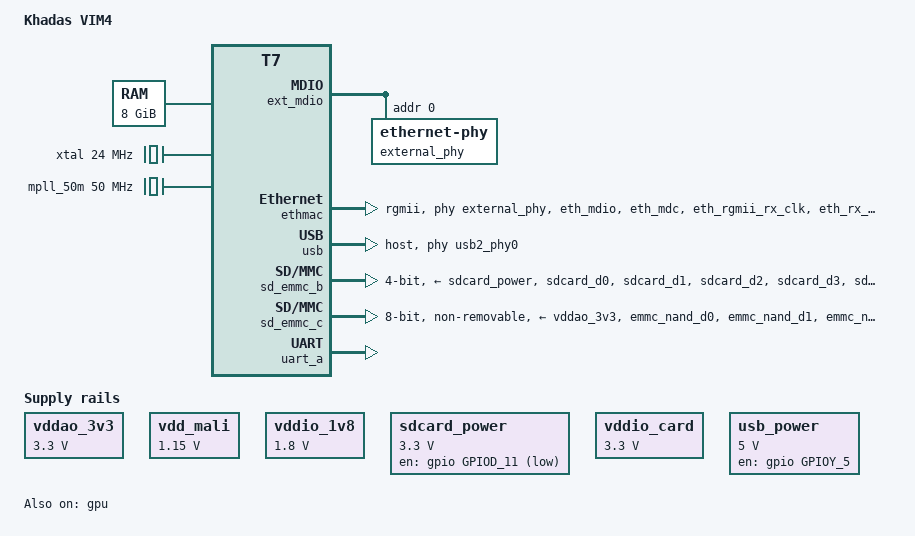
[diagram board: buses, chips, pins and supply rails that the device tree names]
// SPDX-License-Identifier: (GPL-2.0+ OR MIT)
/*
 * Copyright (c) 2022 Wesion, Inc. All rights reserved.
 */

/dts-v1/;

#include <dt-bindings/clock/amlogic,t7-peripherals-clkc.h>
#include <dt-bindings/gpio/amlogic,t7-periphs-pinctrl.h>
#include <dt-bindings/gpio/gpio.h>
#include "amlogic-t7.dtsi"

/ {
	model = "Khadas VIM4";
	compatible = "khadas,vim4", "amlogic,a311d2", "amlogic,t7";

	aliases {
		ethernet0 = &ethmac;
		serial0 = &uart_a;
		mmc0 = &sd_emmc_c;
		mmc1 = &sd_emmc_b;
	};

	chosen {
		stdout-path = "serial0:921600n8";
	};

	memory@0 {
		device_type = "memory";
		reg = <0x0 0x0 0x0 0xE0000000
			0x1 0x0 0x0 0xE0000000
			0x2 0x0 0x0 0x40000000>; /* 8 GB */
		linux,usable-memory = <0x0 0x0 0x0 0xE0000000
				       0x1 0x0 0x0 0xE0000000
				       0x2 0x0 0x0 0x40000000>;
	};

	reserved-memory {
		#address-cells = <2>;
		#size-cells = <2>;
		ranges;

		ramoops@8400000 {
			compatible = "ramoops";
			reg = <0x0 0x08400000 0x0 0x00100000>;
			record-size = <0x20000>;
			console-size = <0x40000>;
			ftrace-size = <0x80000>;
			pmsg-size = <0x20000>;
		};

		logo_reserved: linux,meson-fb {
			compatible = "amlogic, meson-fb";
			reusable;
			size = <0x0 0x00800000>;
			alignment = <0x0 0x00400000>;
			reg = <0x0 0x3f800000 0x0 0x00800000>;
		};

		/* Vendor U-Boot hardcodes this node path during rsvmem check. */
		secmon_reserved: linux,secmon {
			compatible = "shared-dma-pool";
			no-map;
			size = <0x0 0x03400000>;
			alignment = <0x0 0x00400000>;
			alloc-ranges = <0x0 0x05000000 0x0 0x03400000>;
		};
	};

	partitions: partitions {
		parts = <1>;
		part-0 = <&rootfs>;

		rootfs: rootfs {
			pname = "rootfs";
			size = <0xffffffff 0xffffffff>;
			mask = <4>;
		};
	};

	secmon {
		compatible = "amlogic, secmon";
		memory-region = <&secmon_reserved>;
		in_base_func = <0x82000020>;
		out_base_func = <0x82000021>;
		inout_size_func = <0x8200002a>;
		reserve_mem_size = <0x03300000>;
	};

	xtal: xtal-clk {
		compatible = "fixed-clock";
		clock-frequency = <24000000>;
		clock-output-names = "xtal";
		#clock-cells = <0>;
	};

	/* Temporary parent clocks until the full T7 SCMI/PLL map is safe to enable. */
	sys_clk: sys-clk {
		compatible = "fixed-clock";
		clock-frequency = <166666666>;
		clock-output-names = "sys";
		#clock-cells = <0>;
	};

	fixed_pll: fixed-pll-clk {
		compatible = "fixed-clock";
		clock-frequency = <2000000000>;
		clock-output-names = "fix";
		#clock-cells = <0>;
	};

	fdiv2: fdiv2-clk {
		compatible = "fixed-clock";
		clock-frequency = <1000000000>;
		clock-output-names = "fdiv2";
		#clock-cells = <0>;
	};

	fdiv2p5: fdiv2p5-clk {
		compatible = "fixed-clock";
		clock-frequency = <800000000>;
		clock-output-names = "fdiv2p5";
		#clock-cells = <0>;
	};

	fdiv3: fdiv3-clk {
		compatible = "fixed-clock";
		clock-frequency = <666666666>;
		clock-output-names = "fdiv3";
		#clock-cells = <0>;
	};

	fdiv4: fdiv4-clk {
		compatible = "fixed-clock";
		clock-frequency = <500000000>;
		clock-output-names = "fdiv4";
		#clock-cells = <0>;
	};

	fdiv5: fdiv5-clk {
		compatible = "fixed-clock";
		clock-frequency = <400000000>;
		clock-output-names = "fdiv5";
		#clock-cells = <0>;
	};

	fdiv7: fdiv7-clk {
		compatible = "fixed-clock";
		clock-frequency = <285714285>;
		clock-output-names = "fdiv7";
		#clock-cells = <0>;
	};

	hifi: hifi-clk {
		compatible = "fixed-clock";
		clock-frequency = <500000000>;
		clock-output-names = "hifi";
		#clock-cells = <0>;
	};

	gp0: gp0-clk {
		compatible = "fixed-clock";
		clock-frequency = <1000000000>;
		clock-output-names = "gp0";
		#clock-cells = <0>;
	};

	gp1: gp1-clk {
		compatible = "fixed-clock";
		clock-frequency = <1000000000>;
		clock-output-names = "gp1";
		#clock-cells = <0>;
	};

	mpll1: mpll1-clk {
		compatible = "fixed-clock";
		clock-frequency = <500000000>;
		clock-output-names = "mpll1";
		#clock-cells = <0>;
	};

	mpll2: mpll2-clk {
		compatible = "fixed-clock";
		clock-frequency = <500000000>;
		clock-output-names = "mpll2";
		#clock-cells = <0>;
	};

	mpll_50m: mpll-50m-clk {
		compatible = "fixed-clock";
		clock-frequency = <50000000>;
		clock-output-names = "mpll_50m";
		#clock-cells = <0>;
	};

	vddao_3v3: regulator-vddao-3v3 {
		compatible = "regulator-fixed";
		regulator-name = "VDDAO_3V3";
		regulator-min-microvolt = <3300000>;
		regulator-max-microvolt = <3300000>;
		regulator-always-on;
	};

	vdd_mali: regulator-vdd-mali {
		compatible = "regulator-fixed";
		regulator-name = "VDD_MALI";
		regulator-min-microvolt = <1150000>;
		regulator-max-microvolt = <1150000>;
		regulator-always-on;
	};

	vddio_1v8: regulator-vddio-1v8 {
		compatible = "regulator-fixed";
		regulator-name = "VDDIO_1V8";
		regulator-min-microvolt = <1800000>;
		regulator-max-microvolt = <1800000>;
		regulator-always-on;
	};

	sdcard_power: regulator-sdcard-power {
		compatible = "regulator-fixed";
		regulator-name = "SDCARD_POWER";
		regulator-min-microvolt = <3300000>;
		regulator-max-microvolt = <3300000>;
		gpio = <&gpio GPIOD_11 GPIO_ACTIVE_LOW>;
		regulator-boot-on;
	};

	vddio_card: regulator-vddio-card {
		compatible = "regulator-gpio";
		regulator-name = "VDDIO_CARD";
		regulator-min-microvolt = <3300000>;
		regulator-max-microvolt = <3300000>;
		gpios = <&gpio GPIOD_9 GPIO_ACTIVE_HIGH>;
		gpios-states = <0>;
		states = <1800000 1>,
			 <3300000 0>;
		regulator-boot-on;
	};

	usb_power: regulator-usb-power {
		compatible = "regulator-fixed";
		regulator-name = "USB_POWER";
		regulator-min-microvolt = <5000000>;
		regulator-max-microvolt = <5000000>;
		gpio = <&gpio GPIOY_5 GPIO_ACTIVE_HIGH>;
		enable-active-high;
		regulator-boot-on;
	};

};

&{/} {
	thermal-zones {
		a73_thermal: a73-thermal {
			polling-delay = <1000>;
			polling-delay-passive = <100>;
			thermal-sensors = <&a73_temp>;

			trips {
				a73_passive: a73-passive {
					temperature = <85000>;
					hysteresis = <2000>;
					type = "passive";
				};

				a73_hot: a73-hot {
					temperature = <95000>;
					hysteresis = <2000>;
					type = "hot";
				};

				a73_critical: a73-critical {
					temperature = <110000>;
					hysteresis = <2000>;
					type = "critical";
				};
			};
		};

		a53_thermal: a53-thermal {
			polling-delay = <1000>;
			polling-delay-passive = <100>;
			thermal-sensors = <&a53_temp>;

			trips {
				a53_passive: a53-passive {
					temperature = <85000>;
					hysteresis = <2000>;
					type = "passive";
				};

				a53_hot: a53-hot {
					temperature = <95000>;
					hysteresis = <2000>;
					type = "hot";
				};

				a53_critical: a53-critical {
					temperature = <110000>;
					hysteresis = <2000>;
					type = "critical";
				};
			};
		};
	};

	gpu: gpu@fe400000 {
		compatible = "amlogic,meson-t7-mali", "arm,mali-bifrost";
		reg = <0x0 0xfe400000 0x0 0x4000>;
		interrupt-parent = <&gic>;
		interrupts = <GIC_SPI 146 IRQ_TYPE_LEVEL_HIGH>,
			     <GIC_SPI 145 IRQ_TYPE_LEVEL_HIGH>,
			     <GIC_SPI 144 IRQ_TYPE_LEVEL_HIGH>;
		interrupt-names = "job", "mmu", "gpu";
		clocks = <&clkc_periphs CLKID_MALI>;
		mali-supply = <&vdd_mali>;
		operating-points-v2 = <&gpu_opp_table>;
		power-domains = <&pwrc PWRC_T7_MALI_TOP_ID>;
		resets = <&reset RESET_MALI_CAPB3>, <&reset RESET_MALI>;
		#cooling-cells = <2>;

		assigned-clocks = <&clkc_periphs CLKID_MALI_0_SEL>,
				  <&clkc_periphs CLKID_MALI_0>,
				  <&clkc_periphs CLKID_MALI>;
		assigned-clock-parents = <&fdiv2p5>,
					 <0>,
					 <&clkc_periphs CLKID_MALI_0>;
		assigned-clock-rates = <0>, <800000000>, <0>;
		status = "okay";
	};
};

&apb4 {
	clkc_periphs: clock-controller@0 {
		compatible = "amlogic,t7-peripherals-clkc";
		reg = <0x0 0x0 0x0 0x1c8>;
		#clock-cells = <1>;
		clocks = <&xtal>,
			 <&sys_clk>,
			 <&fixed_pll>,
			 <&fdiv2>,
			 <&fdiv2p5>,
			 <&fdiv3>,
			 <&fdiv4>,
			 <&fdiv5>,
			 <&fdiv7>,
			 <&hifi>,
			 <&gp0>,
			 <&gp1>,
			 <&mpll1>,
			 <&mpll2>;
		clock-names = "xtal",
			      "sys",
			      "fix",
			      "fdiv2",
			      "fdiv2p5",
			      "fdiv3",
			      "fdiv4",
			      "fdiv5",
			      "fdiv7",
			      "hifi",
			      "gp0",
			      "gp1",
			      "mpll1",
			      "mpll2";
	};

	eth_phy: mdio-multiplexer@28000 {
		compatible = "amlogic,g12a-mdio-mux";
		reg = <0x0 0x28000 0x0 0xa4>;
		clocks = <&clkc_periphs CLKID_SYS_ETHPHY>,
			 <&xtal>,
			 <&mpll_50m>;
		clock-names = "pclk", "clkin0", "clkin1";
		mdio-parent-bus = <&mdio0>;
		#address-cells = <1>;
		#size-cells = <0>;

		ext_mdio: mdio@0 {
			reg = <0>;
			#address-cells = <1>;
			#size-cells = <0>;

			external_phy: ethernet-phy@0 {
				reg = <0>;
				max-speed = <1000>;
				reset-assert-us = <20000>;
				reset-deassert-us = <50000>;
			};
		};
	};
};

&periphs_pinctrl {
	eth_pins: eth-pins {
		mux {
			groups = "eth_mdio",
				 "eth_mdc",
				 "eth_rgmii_rx_clk",
				 "eth_rx_dv",
				 "eth_rxd0",
				 "eth_rxd1",
				 "eth_txen",
				 "eth_txd0",
				 "eth_txd1";
			function = "eth";
			bias-disable;
			drive-strength-microamp = <4000>;
		};
	};

	eth_rgmii_pins: eth-rgmii-pins {
		mux {
			groups = "eth_rxd2_rgmii",
				 "eth_rxd3_rgmii",
				 "eth_rgmii_tx_clk",
				 "eth_txd2_rgmii",
				 "eth_txd3_rgmii";
			function = "eth";
			bias-disable;
			drive-strength-microamp = <4000>;
		};
	};

	sdcard_pins: sdcard-pins {
		mux {
			groups = "sdcard_d0",
				 "sdcard_d1",
				 "sdcard_d2",
				 "sdcard_d3",
				 "sdcard_cmd";
			function = "sdcard";
			bias-pull-up;
			drive-strength-microamp = <4000>;
		};

		mux-clk {
			groups = "sdcard_clk";
			function = "sdcard";
			bias-pull-up;
			drive-strength-microamp = <4000>;
		};
	};

	sdcard_clk_gate_pins: sdcard-clk-gate-pins {
		mux {
			groups = "GPIOC_4";
			function = "gpio_periphs";
			bias-pull-down;
			drive-strength-microamp = <4000>;
		};
	};

	emmc_pins: emmc-pins {
		mux {
			groups = "emmc_nand_d0",
				 "emmc_nand_d1",
				 "emmc_nand_d2",
				 "emmc_nand_d3",
				 "emmc_nand_d4",
				 "emmc_nand_d5",
				 "emmc_nand_d6",
				 "emmc_nand_d7",
				 "emmc_cmd";
			function = "emmc";
			bias-pull-up;
			drive-strength-microamp = <4000>;
		};
	};

	emmc_clk_pins: emmc-clk-pins {
		mux {
			groups = "emmc_clk";
			function = "emmc";
			bias-disable;
			drive-strength-microamp = <4000>;
		};
	};

	emmc_ds_pins: emmc-ds-pins {
		mux {
			groups = "emmc_nand_ds";
			function = "emmc";
			bias-pull-down;
			drive-strength-microamp = <4000>;
		};
	};

	emmc_clk_gate_pins: emmc-clk-gate-pins {
		mux {
			groups = "GPIOB_8";
			function = "gpio_periphs";
			bias-pull-down;
			drive-strength-microamp = <4000>;
		};
	};
};

&{/soc} {
	a73_temp: temperature-sensor@fe020000 {
		compatible = "amlogic,t7-thermal";
		reg = <0x0 0xfe020000 0x0 0x50>;
		interrupts = <GIC_SPI 31 IRQ_TYPE_LEVEL_HIGH>;
		clocks = <&clkc_periphs CLKID_TS>;
		assigned-clocks = <&clkc_periphs CLKID_TS>;
		assigned-clock-rates = <500000>;
		#thermal-sensor-cells = <0>;
		amlogic,thermal-sensor-id = <1>;
		secure-monitor = <&sm>;
	};

	a53_temp: temperature-sensor@fe022000 {
		compatible = "amlogic,t7-thermal";
		reg = <0x0 0xfe022000 0x0 0x50>;
		interrupts = <GIC_SPI 30 IRQ_TYPE_LEVEL_HIGH>;
		clocks = <&clkc_periphs CLKID_TS>;
		assigned-clocks = <&clkc_periphs CLKID_TS>;
		assigned-clock-rates = <500000>;
		#thermal-sensor-cells = <0>;
		amlogic,thermal-sensor-id = <2>;
		secure-monitor = <&sm>;
	};

	ethmac: ethernet@fdc00000 {
		compatible = "amlogic,meson-g12a-dwmac",
			     "snps,dwmac-4.00",
			     "snps,dwmac";
		reg = <0x0 0xfdc00000 0x0 0x10000>,
		      <0x0 0xfe024000 0x0 0x8>;
		interrupts = <GIC_SPI 74 IRQ_TYPE_LEVEL_HIGH>;
		interrupt-names = "macirq";
		clocks = <&clkc_periphs CLKID_SYS_ETH>,
			 <&fdiv2>,
			 <&mpll2>;
		clock-names = "stmmaceth", "clkin0", "clkin1";
		power-domains = <&pwrc PWRC_T7_ETH_ID>;
		pinctrl-0 = <&eth_pins>, <&eth_rgmii_pins>;
		pinctrl-names = "default";
		phy-mode = "rgmii";
		phy-handle = <&external_phy>;
		amlogic,tx-delay-ns = <2>;
		rx-internal-delay-ps = <2000>;
		internal_phy = <2>;
		mc_val = <0x1621>;
		cali_val = <0xa0000>;
		rx-fifo-depth = <4096>;
		tx-fifo-depth = <2048>;
		status = "okay";

		mdio0: mdio {
			compatible = "snps,dwmac-mdio";
			#address-cells = <1>;
			#size-cells = <0>;
		};
	};

	usb2_phy0: phy@fe03c000 {
		compatible = "amlogic,g12a-usb2-phy";
		reg = <0x0 0xfe03c000 0x0 0x2000>;
		clocks = <&xtal>;
		clock-names = "xtal";
		resets = <&reset RESET_U2PHY20>;
		reset-names = "phy";
		power-domains = <&pwrc PWRC_T7_USB_COMB_ID>;
		phy-supply = <&usb_power>;
		#phy-cells = <0>;
	};

	usb2_phy1: phy@fe03e000 {
		compatible = "amlogic,g12a-usb2-phy";
		reg = <0x0 0xfe03e000 0x0 0x2000>;
		clocks = <&xtal>;
		clock-names = "xtal";
		resets = <&reset RESET_U2PHY21>;
		reset-names = "phy";
		power-domains = <&pwrc PWRC_T7_USB_COMB_ID>;
		#phy-cells = <0>;
	};

	usb: usb@fe03a000 {
		compatible = "amlogic,meson-g12a-usb-ctrl";
		reg = <0x0 0xfe03a000 0x0 0xa0>;
		interrupts = <GIC_SPI 129 IRQ_TYPE_EDGE_RISING>;
		#address-cells = <2>;
		#size-cells = <2>;
		ranges;

		clocks = <&clkc_periphs CLKID_SYS_USB>;
		resets = <&reset RESET_USB>;
		power-domains = <&pwrc PWRC_T7_USB_COMB_ID>;

		dr_mode = "host";

		phys = <&usb2_phy0>, <&usb2_phy1>;
		phy-names = "usb2-phy0", "usb2-phy1";

		xhci2: usb@fdd00000 {
			compatible = "amlogic,t7-crg-xhci", "generic-xhci";
			reg = <0x0 0xfdd00000 0x0 0x8000>;
			interrupts = <GIC_SPI 131 IRQ_TYPE_EDGE_RISING>;
			clocks = <&clkc_periphs CLKID_SYS_USB>;
			clock-names = "core";
			dr_mode = "host";
			usb2-lpm-disable;
		};

		xhci3: usb@fde00000 {
			compatible = "amlogic,t7-crg-xhci", "generic-xhci";
			reg = <0x0 0xfde00000 0x0 0x8000>;
			interrupts = <GIC_SPI 130 IRQ_TYPE_EDGE_RISING>;
			clocks = <&clkc_periphs CLKID_SYS_USB>;
			clock-names = "core";
			dr_mode = "host";
			usb2-lpm-disable;
		};
	};

	sd_emmc_b: mmc@fe08a000 {
		compatible = "amlogic,t7-mmc", "amlogic,meson-axg-mmc";
		reg = <0x0 0xfe08a000 0x0 0x800>;
		interrupts = <GIC_SPI 177 IRQ_TYPE_EDGE_RISING>;
		clocks = <&clkc_periphs CLKID_SYS_SD_EMMC_B>,
			 <&clkc_periphs CLKID_SD_EMMC_B>,
			 <&fdiv2>;
		clock-names = "core", "clkin0", "clkin1";
		resets = <&reset RESET_SD_EMMC_B>;
		power-domains = <&pwrc PWRC_T7_SDIO_B_ID>;
		pinctrl-0 = <&sdcard_pins>;
		pinctrl-1 = <&sdcard_clk_gate_pins>;
		pinctrl-names = "default", "clk-gate";
		bus-width = <4>;
		cap-sd-highspeed;
		max-frequency = <50000000>;
		assigned-clocks = <&clkc_periphs CLKID_SD_EMMC_B>;
		assigned-clock-rates = <24000000>;
		disable-wp;
		no-mmc;
		no-sdio;
		cd-gpios = <&gpio GPIOC_6 GPIO_ACTIVE_HIGH>;
		vmmc-supply = <&sdcard_power>;
		vqmmc-supply = <&vddio_card>;
		status = "okay";
	};

	sd_emmc_c: mmc@fe08c000 {
		compatible = "amlogic,t7-mmc", "amlogic,meson-axg-mmc";
		reg = <0x0 0xfe08c000 0x0 0x800>;
		interrupts = <GIC_SPI 178 IRQ_TYPE_EDGE_RISING>;
		clocks = <&clkc_periphs CLKID_SYS_SD_EMMC_C>,
			 <&clkc_periphs CLKID_SD_EMMC_C>,
			 <&fdiv2>;
		clock-names = "core", "clkin0", "clkin1";
		resets = <&reset RESET_SD_EMMC_C>;
		power-domains = <&pwrc PWRC_T7_EMMC_ID>;
		pinctrl-0 = <&emmc_pins>, <&emmc_clk_pins>, <&emmc_ds_pins>;
		pinctrl-1 = <&emmc_clk_gate_pins>;
		pinctrl-names = "default", "clk-gate";
		bus-width = <8>;
		cap-mmc-highspeed;
		max-frequency = <50000000>;
		assigned-clocks = <&clkc_periphs CLKID_SD_EMMC_C>;
		assigned-clock-rates = <24000000>;
		non-removable;
		disable-wp;
		no-sd;
		no-sdio;
		vmmc-supply = <&vddao_3v3>;
		vqmmc-supply = <&vddio_1v8>;
		status = "okay";
	};
};

&drm_subsystem {
	memory-region = <&logo_reserved>;
};

&uart_a {
	status = "okay";
	clocks = <&xtal>, <&xtal>, <&xtal>;
	clock-names = "xtal", "pclk", "baud";
};
